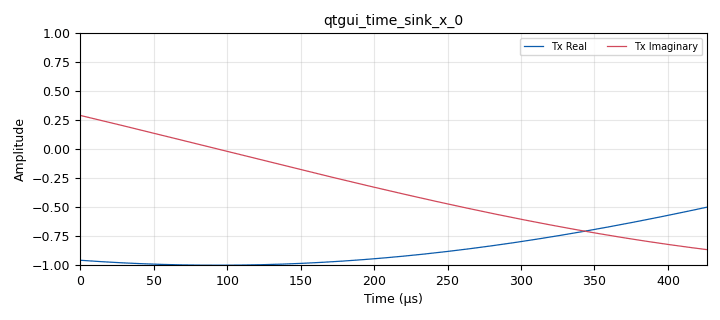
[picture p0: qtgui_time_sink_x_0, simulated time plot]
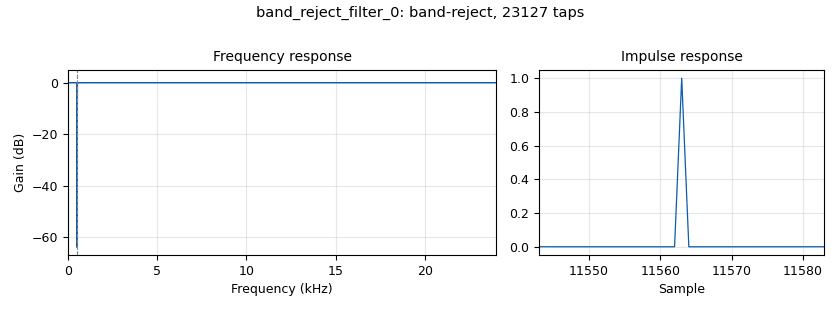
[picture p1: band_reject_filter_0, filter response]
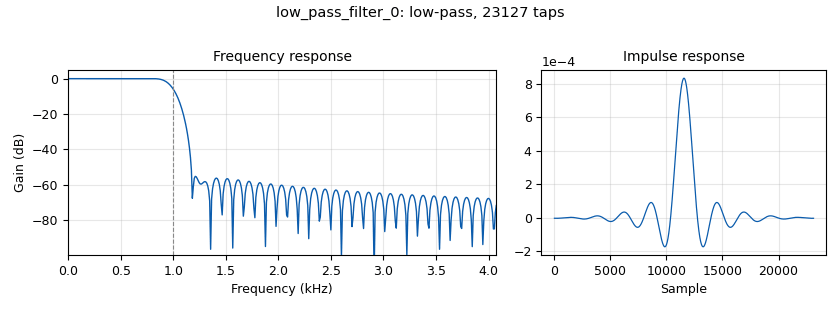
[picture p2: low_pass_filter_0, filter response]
options:
  parameters:
    generate_options: qt_gui
    id: doppler_radar_example
    output_language: python
    title: Not titled yet
  states: {}

blocks:
- name: audio_gain
  id: variable_qtgui_range
  parameters:
    start: '0'
    step: '1'
    stop: '100'
    value: '1'
  states: {}
- name: rx_gain
  id: variable_qtgui_range
  parameters:
    start: '0'
    step: '1'
    stop: '70'
    value: '64'
  states: {}
- name: samp_rate
  id: variable
  parameters:
    value: 2.4e6
  states: {}
- name: tone_freq
  id: variable_qtgui_range
  parameters:
    start: '-2000'
    step: '1'
    stop: '2000'
    value: '500'
  states: {}
- name: tx_attenuation
  id: variable_qtgui_range
  parameters:
    start: '0'
    step: '1'
    stop: '100'
    value: '40'
  states: {}
- name: tx_gain
  id: variable_qtgui_range
  parameters:
    start: '0'
    step: '1'
    stop: '70'
    value: '40'
  states: {}
- name: analog_sig_source_x_0
  id: analog_sig_source_x
  parameters:
    amp: '1'
    freq: '500'
    offset: '0'
    phase: '0'
    samp_rate: samp_rate
    type: complex
    waveform: analog.GR_COS_WAVE
  states: {}
- name: audio_sink_0
  id: audio_sink
  parameters:
    samp_rate: '48000'
  states: {}
- name: band_reject_filter_0
  id: band_reject_filter
  parameters:
    decim: '1'
    gain: '1'
    high_cutoff_freq: '505'
    low_cutoff_freq: '495'
    samp_rate: samp_rate/50
    type: fir_filter_ccf
    width: '5'
    win: window.WIN_HAMMING
  states: {}
- name: blocks_complex_to_real_0
  id: blocks_complex_to_real
  parameters: {}
  states: {}
- name: blocks_multiply_const_vxx_0
  id: blocks_multiply_const_vxx
  parameters:
    const: audio_gain
    type: complex
  states: {}
- name: iio_pluto_sink_0
  id: iio_pluto_sink
  parameters:
    attenuation1: tx_attenuation
    bandwidth: '20000000'
    buffer_size: '32768'
    cyclic: 'False'
    filter_source: '''Auto'''
    frequency: '3500000000'
    samplerate: int(samp_rate)
    type: fc32
    uri: ip:192.168.2.1
  states: {}
- name: iio_pluto_source_0
  id: iio_pluto_source
  parameters:
    bandwidth: '20000000'
    bbdc: 'True'
    buffer_size: '32768'
    filter_source: '''Auto'''
    frequency: '3500000000'
    gain1: '''manual'''
    manual_gain1: '64'
    quadrature: 'True'
    rfdc: 'True'
    samplerate: int(samp_rate)
    type: fc32
    uri: ip:192.168.2.1
  states: {}
- name: low_pass_filter_0
  id: low_pass_filter
  parameters:
    cutoff_freq: tone_freq*2
    decim: '50'
    gain: '1'
    samp_rate: samp_rate
    type: fir_filter_ccf
    width: '250'
    win: window.WIN_HAMMING
  states: {}
- name: qtgui_freq_sink_x_0
  id: qtgui_freq_sink_x
  parameters:
    bw: samp_rate
    fc: '0'
    fftsize: '8192'
    label1: Rx
    type: complex
  states: {}
- name: qtgui_freq_sink_x_1
  id: qtgui_freq_sink_x
  parameters:
    bw: samp_rate/50
    fc: '0'
    fftsize: '8192'
    label1: LPF
    type: complex
  states: {}
- name: qtgui_freq_sink_x_2
  id: qtgui_freq_sink_x
  parameters:
    bw: samp_rate/50
    fc: '0'
    fftsize: '8192'
    label1: Band Reject
    type: complex
  states: {}
- name: qtgui_time_sink_x_0
  id: qtgui_time_sink_x
  parameters:
    label1: Tx Real
    label2: Tx Imaginary
    size: '1024'
    srate: samp_rate
    type: complex
  states: {}
- name: qtgui_time_sink_x_1
  id: qtgui_time_sink_x
  parameters:
    label1: Rx real
    label2: Rx Imaginary
    size: 1024*8
    srate: samp_rate
    type: complex
  states: {}
- name: qtgui_time_sink_x_2
  id: qtgui_time_sink_x
  parameters:
    label1: LPF Real
    label2: LPF Imaginary
    size: '1024'
    srate: samp_rate/50
    type: complex
  states: {}
- name: qtgui_time_sink_x_3
  id: qtgui_time_sink_x
  parameters:
    label1: Band Reject Real
    label2: Band Reject Imaginary
    size: 1024*8
    srate: samp_rate/50
    type: complex
  states: {}

connections:
- [analog_sig_source_x_0, '0', iio_pluto_sink_0, '0']
- [analog_sig_source_x_0, '0', qtgui_time_sink_x_0, '0']
- [band_reject_filter_0, '0', blocks_complex_to_real_0, '0']
- [band_reject_filter_0, '0', blocks_multiply_const_vxx_0, '0']
- [blocks_complex_to_real_0, '0', audio_sink_0, '0']
- [blocks_multiply_const_vxx_0, '0', qtgui_freq_sink_x_2, '0']
- [blocks_multiply_const_vxx_0, '0', qtgui_time_sink_x_3, '0']
- [iio_pluto_source_0, '0', low_pass_filter_0, '0']
- [iio_pluto_source_0, '0', qtgui_freq_sink_x_0, '0']
- [iio_pluto_source_0, '0', qtgui_time_sink_x_1, '0']
- [low_pass_filter_0, '0', band_reject_filter_0, '0']
- [low_pass_filter_0, '0', qtgui_freq_sink_x_1, '0']
- [low_pass_filter_0, '0', qtgui_time_sink_x_2, '0']

metadata:
  file_format: 1
  grc_version: 3.10.10.0
